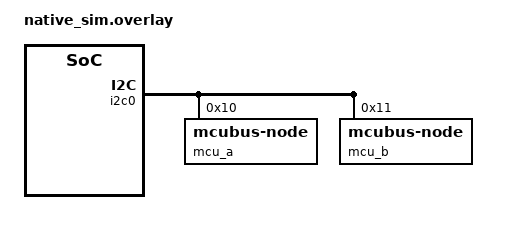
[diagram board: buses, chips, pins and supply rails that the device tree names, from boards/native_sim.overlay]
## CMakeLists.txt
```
# Copyright (c) 2026 Christoph Jans <jans.christoph@gmail.com>
# SPDX-License-Identifier: Apache-2.0

cmake_minimum_required(VERSION 3.20.0)

# One image per MCU: NODE picks the node of boards/native_sim.overlay this image is
set(NODE a CACHE STRING "MCU to build: a or b")
list(APPEND DTS_EXTRA_CPPFLAGS -DMCUBUS_SELF_LABEL=mcu_${NODE})

find_package(Zephyr REQUIRED HINTS $ENV{ZEPHYR_BASE})
project(mcubus_hello)

target_sources(app PRIVATE src/main.c)
```

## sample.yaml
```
# Copyright (c) 2026 Christoph Jans <jans.christoph@gmail.com>
# SPDX-License-Identifier: Apache-2.0

sample:
  name: Hello over the mcubus
common:
  platform_allow:
    - native_sim
  integration_platforms:
    - native_sim
  tags:
    - i2c
tests:
  # MCU a, started by twister; pytest/test_hello.py starts b next to it
  sample.mcubus.hello:
    extra_args: NODE=a
    harness: pytest
    required_applications:
      - name: sample.mcubus.hello.node_b
  sample.mcubus.hello.node_b:
    extra_args: NODE=b
    build_only: true
```

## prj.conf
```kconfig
# Copyright (c) 2026 Christoph Jans <jans.christoph@gmail.com>
# SPDX-License-Identifier: Apache-2.0

# CONFIG_MCUBUS and the bus port come with the devicetree
CONFIG_I2C=y
CONFIG_LOG=y
CONFIG_LOG_BACKEND_SHOW_COLOR=n
```

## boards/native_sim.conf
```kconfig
# Copyright (c) 2026 Christoph Jans <jans.christoph@gmail.com>
# SPDX-License-Identifier: Apache-2.0

# The MCUs are processes that meet in wall-clock time
CONFIG_NATIVE_SIM_SLOWDOWN_TO_REAL_TIME=y

# A byte on the emulated bus is 90 us; a 10 ms tick would round it up
CONFIG_SYS_CLOCK_TICKS_PER_SEC=100000
```

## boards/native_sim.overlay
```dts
/*
 * Copyright (c) 2026 Christoph Jans <jans.christoph@gmail.com>
 *
 * SPDX-License-Identifier: Apache-2.0
 */

/* The bus on native_sim (zephyr,i2c-mm-emul); MCUBUS_SELF_LABEL is mcu_<NODE> */

/ {
	chosen {
		zephyr,mcubus-self = &MCUBUS_SELF_LABEL;
	};
};

&i2c0 {
	compatible = "zephyr,i2c-mm-emul";
	bus-id = <2>;

	mcu_a: mcu-a@10 {
		compatible = "zephyr,mcubus-node";
		reg = <0x10>;
	};

	mcu_b: mcu-b@11 {
		compatible = "zephyr,mcubus-node";
		reg = <0x11>;
	};
};
```

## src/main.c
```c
/*
 * Copyright (c) 2026 Christoph Jans <jans.christoph@gmail.com>
 *
 * SPDX-License-Identifier: Apache-2.0
 *
 * Hello over the mcubus: one MCU of two. It serves an echo service of its own,
 * and calls the echo of the other MCU.
 */

#include <stdio.h>
#include <string.h>
#include <zephyr/kernel.h>
#include <zephyr/logging/log.h>

#include <mcubus/mcubus.h>
#include <mcubus/ping.h>

LOG_MODULE_REGISTER(hello, LOG_LEVEL_INF);

#define ECHO_CMD 0x80

/* Runs in the I2C target interrupt: short, and only copying */
static int echo(const struct mcubus_req *req, uint8_t *rsp)
{
	rsp[0] = req->src;
	memcpy(&rsp[1], req->data, req->len);
	return 1 + req->len;
}

MCUBUS_SERVICE_DEFINE(echo_service, ECHO_CMD, echo);

#define ADDR(node) DT_REG_ADDR(node),
static const uint8_t mcus[] = {DT_FOREACH_STATUS_OKAY(zephyr_mcubus_node, ADDR)};

static uint8_t other_mcu(void)
{
	return mcus[0] != mcubus_addr() ? mcus[0] : mcus[1];
}

int main(void)
{
	uint8_t peer = other_mcu();
	struct mcubus_info info;
	char msg[32];
	uint8_t rsp[1 + sizeof(msg)] = {0};
	int len;
	int ret;

	BUILD_ASSERT(ARRAY_SIZE(mcus) == 2, "hello is for two MCUs");

	LOG_INF("%s at 0x%02x", mcubus_name(), mcubus_addr());

	ret = mcubus_ping_wait(peer, &info, K_SECONDS(5)); /* it may still be booting */
	if (ret) {
		LOG_ERR("no answer from 0x%02x: %d", peer, ret);
		return 0;
	}
	LOG_INF("0x%02x answers: protocol %u", peer, info.version);

	len = snprintf(msg, sizeof(msg), "hello from %s", mcubus_name());
	ret = mcubus_request(peer, ECHO_CMD, msg, len, rsp, 1 + len);
	if (ret) {
		LOG_ERR("echo of 0x%02x: %d", peer, ret);
		return 0;
	}
	LOG_INF("0x%02x echoed \"%.*s\", from 0x%02x", peer, len, &rsp[1], rsp[0]);
	return 0;
}
```
